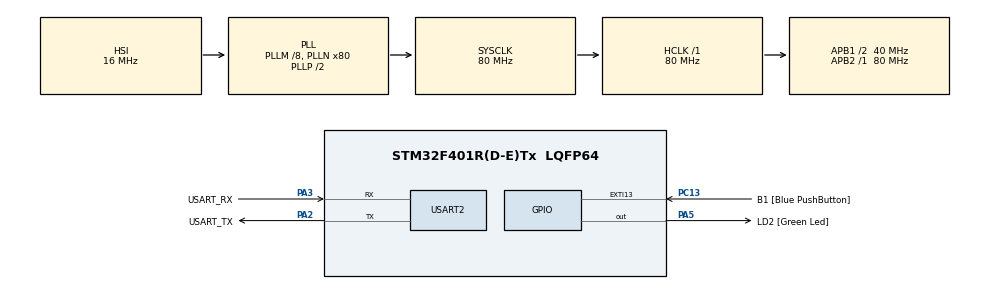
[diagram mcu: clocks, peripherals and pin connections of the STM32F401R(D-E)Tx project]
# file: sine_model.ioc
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Mcu.Family=STM32F4
Mcu.Name=STM32F401R(D-E)Tx
Mcu.Package=LQFP64
NVIC.PriorityGroup=NVIC_PRIORITYGROUP_0
PA13.GPIO_Label=TMS
PA13.Signal=SYS_JTMS-SWDIO
PA14.GPIO_Label=TCK
PA14.Signal=SYS_JTCK-SWCLK
PA2.GPIO_Label=USART_TX
PA2.GPIO_Mode=GPIO_MODE_AF_PP
PA2.GPIO_PuPd=GPIO_NOPULL
PA2.GPIO_Speed=GPIO_SPEED_FREQ_LOW
PA2.Mode=Asynchronous
PA2.Signal=USART2_TX
PA3.GPIO_Label=USART_RX
PA3.GPIO_Mode=GPIO_MODE_AF_PP
PA3.GPIO_PuPd=GPIO_NOPULL
PA3.GPIO_Speed=GPIO_SPEED_FREQ_LOW
PA3.Mode=Asynchronous
PA3.Signal=USART2_RX
PA5.GPIO_Label=LD2 [Green Led]
PA5.GPIO_Mode=GPIO_MODE_OUTPUT_PP
PA5.GPIO_PuPd=GPIO_NOPULL
PA5.GPIO_Speed=GPIO_SPEED_FREQ_LOW
PA5.Signal=GPIO_Output
PB3.GPIO_Label=SWO
PB3.Signal=SYS_JTDO-SWO
PC13-ANTI_TAMP.GPIO_Label=B1 [Blue PushButton]
PC13-ANTI_TAMP.GPIO_ModeDefaultEXTI=GPIO_MODE_IT_FALLING
PC13-ANTI_TAMP.GPIO_PuPd=GPIO_NOPULL
PC13-ANTI_TAMP.Signal=GPXTI13
PC14-OSC32_IN.Signal=RCC_OSC32_IN
PC15-OSC32_OUT.Signal=RCC_OSC32_OUT
PH0\ -\ OSC_IN.Signal=RCC_OSC_IN
PH1\ -\ OSC_OUT.Signal=RCC_OSC_OUT
ProjectManager.HeapSize=0x200
ProjectManager.StackSize=0x400
ProjectManager.TargetToolchain=STM32CubeIDE
RCC.48MHZClocksFreq_Value=22857142.85714286
RCC.AHBFreq_Value=80000000
RCC.APB1CLKDivider=RCC_HCLK_DIV2
RCC.APB1Freq_Value=40000000
RCC.APB1TimFreq_Value=80000000
RCC.APB2Freq_Value=80000000
RCC.APB2TimFreq_Value=80000000
RCC.CortexFreq_Value=80000000
RCC.HCLKFreq_Value=80000000
RCC.HSE_VALUE=8000000
RCC.HSI_VALUE=16000000
RCC.LSE_VALUE=32768
RCC.PLLM=8
RCC.PLLN=80
RCC.PLLQ=7
RCC.SYSCLKFreq_VALUE=80000000
RCC.SYSCLKSource=RCC_SYSCLKSOURCE_PLLCLK
RCC.VCOOutputFreq_Value=160000000
TIM10.Prescaler=79
USART2.VirtualMode=VM_ASYNC
VP_TIM10_VS_ClockSourceINT.Mode=Enable_Timer
board=NUCLEO-F401RE

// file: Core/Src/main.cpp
/* USER CODE BEGIN Header */
/**
  ******************************************************************************
  * @file           : main.c
  * @brief          : Main program body
  ******************************************************************************
  * @attention
  *
  * <h2><center>&copy; Copyright (c) 2021 STMicroelectronics.
  * All rights reserved.</center></h2>
  *
  * This software component is licensed by ST under BSD 3-Clause license,
  * the "License"; You may not use this file except in compliance with the
  * License. You may obtain a copy of the License at:
  *                        opensource.org/licenses/BSD-3-Clause
  *
  ******************************************************************************
  */
/* USER CODE END Header */
#include "main.h"

/* USER CODE BEGIN Includes */
#include <string.h>

#include "tensorflow/lite/micro/all_ops_resolver.h"
#include "tensorflow/lite/micro/micro_error_reporter.h"
#include "tensorflow/lite/micro/micro_interpreter.h"
#include "tensorflow/lite/schema/schema_generated.h"

#include "sine_model.h"
/* USER CODE END Includes */

TIM_HandleTypeDef htim10;

UART_HandleTypeDef huart2;

/* USER CODE BEGIN PV */

namespace {
  tflite::ErrorReporter* error_reporter = nullptr;
  const tflite::Model* model = nullptr;
  tflite::MicroInterpreter* interpreter = nullptr;
  TfLiteTensor* model_input = nullptr;
  TfLiteTensor* model_output = nullptr;

  // Create an area of memory to use for input, output, and other TensorFlow
  // arrays. You'll need to adjust this by compiling, running, and looking
  // for errors.
  constexpr int kTensorArenaSize = 75 * 1024;
  __attribute__((aligned(16)))uint8_t tensor_arena[kTensorArenaSize];
}

/* USER CODE END PV */

void SystemClock_Config(void);
static void MX_GPIO_Init(void);
static void MX_TIM10_Init(void);
static void MX_USART2_UART_Init(void);

int main(void)
{
  /* USER CODE BEGIN 1 */
	char buf[50];
		int buf_len = 0;
		TfLiteStatus tflite_status;
		uint32_t num_elements;
		uint32_t timestamp;
	float x = 2.0f;
	int8_t y_quantized;
	float y_val;

  /* USER CODE END 1 */

  /* MCU Configuration--------------------------------------------------------*/

  /* Reset of all peripherals, Initializes the Flash interface and the Systick. */
  HAL_Init();

  /* Configure the system clock */
  SystemClock_Config();

  /* Initialize all configured peripherals */
  MX_GPIO_Init();
  MX_TIM10_Init();
  MX_USART2_UART_Init();
  /* USER CODE BEGIN 2 */

  HAL_TIM_Base_Start(&htim10);

  static tflite::MicroErrorReporter micro_error_reporter;
    error_reporter = &micro_error_reporter;

    error_reporter->Report("STM32 TensorFlow Lite test");

    model = tflite::GetModel(sine_model);
    if (model->version() != TFLITE_SCHEMA_VERSION)
    {
  	 error_reporter->Report("Model version does not match Schema");
  	 while(1);
    }

    static tflite::MicroMutableOpResolver<1> micro_op_resolver;

    tflite_status = micro_op_resolver.AddFullyConnected();
    if (tflite_status != kTfLiteOk)
    {
    	error_reporter->Report("Could not add FULLY CONNECTED op");
    	while(1);
    }

    // Build an interpreter to run the model with.
    static tflite::MicroInterpreter static_interpreter(
        model, micro_op_resolver, tensor_arena, kTensorArenaSize, error_reporter);
    interpreter = &static_interpreter;

    tflite_status = interpreter->AllocateTensors();
    if (tflite_status != kTfLiteOk)
    {
      error_reporter->Report("AllocateTensors() failed");
      while(1);
    }

    // Assign model input and output buffers (tensors) to pointers
    model_input = interpreter->input(0);
    model_output = interpreter->output(0);

    // Get number of elements in input tensor
    num_elements = model_input->bytes / sizeof(float);
    buf_len = sprintf(buf, "Number of input elements: %lu\r\n", num_elements);
    HAL_UART_Transmit(&huart2, (uint8_t *)buf, buf_len, 100);

    /* USER CODE END 2 */

    /* Infinite loop */
    /* USER CODE BEGIN WHILE */

    buf_len = sprintf(buf, "start!\n");
    HAL_UART_Transmit(&huart2, (uint8_t *)buf, buf_len, HAL_MAX_DELAY);

  /* USER CODE END 2 */

  /* Infinite loop */
  /* USER CODE BEGIN WHILE */
  while (1)
  {
    /* USER CODE END WHILE */

	  int8_t x_quantized = x / model_input->params.scale + model_input->params.zero_point;
	  model_input->data.int8[0] = x_quantized;

	      // Get current timestamp
	      timestamp = htim10.Instance->CNT;

	      // Run inference
	      tflite_status = interpreter->Invoke();
	      if (tflite_status != kTfLiteOk)
	      {
	        error_reporter->Report("Invoke failed");
	      }

	      // Read output (predicted y) of neural network
	      y_quantized = model_output->data.int8[0];
	      y_val = (y_quantized - model_output->params.zero_point) * model_output->params.scale;

	      // Print output of neural network along with inference time (microseconds)
	      buf_len = sprintf(buf, "Output: %f | Duration: %lu\r\n",y_val, htim10.Instance->CNT - timestamp);
	      HAL_UART_Transmit(&huart2, (uint8_t *)buf, buf_len, 100);

	      // Wait before doing it again
	      HAL_Delay(500);

  }
}

void SystemClock_Config(void)
{
  RCC_OscInitTypeDef RCC_OscInitStruct = {0};
  RCC_ClkInitTypeDef RCC_ClkInitStruct = {0};

  /** Configure the main internal regulator output voltage
  */
  __HAL_RCC_PWR_CLK_ENABLE();
  __HAL_PWR_VOLTAGESCALING_CONFIG(PWR_REGULATOR_VOLTAGE_SCALE2);
  /** Initializes the RCC Oscillators according to the specified parameters
  * in the RCC_OscInitTypeDef structure.
  */
  RCC_OscInitStruct.OscillatorType = RCC_OSCILLATORTYPE_HSI;
  RCC_OscInitStruct.HSIState = RCC_HSI_ON;
  RCC_OscInitStruct.HSICalibrationValue = RCC_HSICALIBRATION_DEFAULT;
  RCC_OscInitStruct.PLL.PLLState = RCC_PLL_ON;
  RCC_OscInitStruct.PLL.PLLSource = RCC_PLLSOURCE_HSI;
  RCC_OscInitStruct.PLL.PLLM = 8;
  RCC_OscInitStruct.PLL.PLLN = 80;
  RCC_OscInitStruct.PLL.PLLP = RCC_PLLP_DIV2;
  RCC_OscInitStruct.PLL.PLLQ = 7;
  if (HAL_RCC_OscConfig(&RCC_OscInitStruct) != HAL_OK)
  {
    Error_Handler();
  }
  /** Initializes the CPU, AHB and APB buses clocks
  */
  RCC_ClkInitStruct.ClockType = RCC_CLOCKTYPE_HCLK|RCC_CLOCKTYPE_SYSCLK
                              |RCC_CLOCKTYPE_PCLK1|RCC_CLOCKTYPE_PCLK2;
  RCC_ClkInitStruct.SYSCLKSource = RCC_SYSCLKSOURCE_PLLCLK;
  RCC_ClkInitStruct.AHBCLKDivider = RCC_SYSCLK_DIV1;
  RCC_ClkInitStruct.APB1CLKDivider = RCC_HCLK_DIV2;
  RCC_ClkInitStruct.APB2CLKDivider = RCC_HCLK_DIV1;

  if (HAL_RCC_ClockConfig(&RCC_ClkInitStruct, FLASH_LATENCY_2) != HAL_OK)
  {
    Error_Handler();
  }
}

static void MX_TIM10_Init(void)
{

  htim10.Instance = TIM10;
  htim10.Init.Prescaler = 79;
  htim10.Init.CounterMode = TIM_COUNTERMODE_UP;
  htim10.Init.Period = 65535;
  htim10.Init.ClockDivision = TIM_CLOCKDIVISION_DIV1;
  htim10.Init.AutoReloadPreload = TIM_AUTORELOAD_PRELOAD_DISABLE;
  if (HAL_TIM_Base_Init(&htim10) != HAL_OK)
  {
    Error_Handler();
  }

}

static void MX_USART2_UART_Init(void)
{

  huart2.Instance = USART2;
  huart2.Init.BaudRate = 115200;
  huart2.Init.WordLength = UART_WORDLENGTH_8B;
  huart2.Init.StopBits = UART_STOPBITS_1;
  huart2.Init.Parity = UART_PARITY_NONE;
  huart2.Init.Mode = UART_MODE_TX_RX;
  huart2.Init.HwFlowCtl = UART_HWCONTROL_NONE;
  huart2.Init.OverSampling = UART_OVERSAMPLING_16;
  if (HAL_UART_Init(&huart2) != HAL_OK)
  {
    Error_Handler();
  }

}

static void MX_GPIO_Init(void)
{
  GPIO_InitTypeDef GPIO_InitStruct = {0};

  /* GPIO Ports Clock Enable */
  __HAL_RCC_GPIOC_CLK_ENABLE();
  __HAL_RCC_GPIOH_CLK_ENABLE();
  __HAL_RCC_GPIOA_CLK_ENABLE();
  __HAL_RCC_GPIOB_CLK_ENABLE();

  /*Configure GPIO pin Output Level */
  HAL_GPIO_WritePin(LD2_GPIO_Port, LD2_Pin, GPIO_PIN_RESET);

  /*Configure GPIO pin : B1_Pin */
  GPIO_InitStruct.Pin = B1_Pin;
  GPIO_InitStruct.Mode = GPIO_MODE_IT_FALLING;
  GPIO_InitStruct.Pull = GPIO_NOPULL;
  HAL_GPIO_Init(B1_GPIO_Port, &GPIO_InitStruct);

  /*Configure GPIO pins : USART_TX_Pin USART_RX_Pin */
  GPIO_InitStruct.Pin = USART_TX_Pin|USART_RX_Pin;
  GPIO_InitStruct.Mode = GPIO_MODE_AF_PP;
  GPIO_InitStruct.Pull = GPIO_NOPULL;
  GPIO_InitStruct.Speed = GPIO_SPEED_FREQ_LOW;
  GPIO_InitStruct.Alternate = GPIO_AF7_USART2;
  HAL_GPIO_Init(GPIOA, &GPIO_InitStruct);

  /*Configure GPIO pin : LD2_Pin */
  GPIO_InitStruct.Pin = LD2_Pin;
  GPIO_InitStruct.Mode = GPIO_MODE_OUTPUT_PP;
  GPIO_InitStruct.Pull = GPIO_NOPULL;
  GPIO_InitStruct.Speed = GPIO_SPEED_FREQ_LOW;
  HAL_GPIO_Init(LD2_GPIO_Port, &GPIO_InitStruct);

}

/* USER CODE BEGIN 4 */
extern "C" void DebugLog(const char* s)
{
  HAL_UART_Transmit(&huart2, (uint8_t *)s, strlen(s), 100);
}
/* USER CODE END 4 */

void Error_Handler(void)
{
  __disable_irq();
  while (1)
  {
  }
}

/************************ (C) COPYRIGHT STMicroelectronics *****END OF FILE****/
